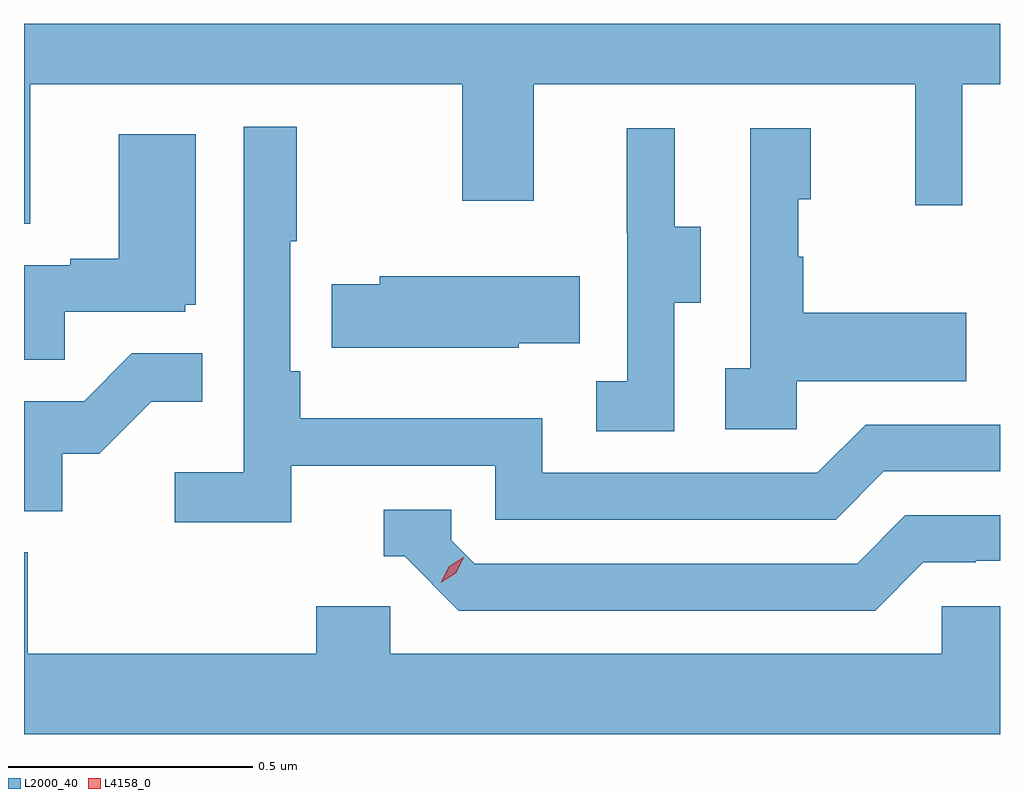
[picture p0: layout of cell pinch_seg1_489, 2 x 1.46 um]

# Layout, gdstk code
import gdstk
lib = gdstk.Library(unit=1e-6, precision=1e-09)
def P(c, l, *ps):  # polygons
    for p in ps: c.add(gdstk.Polygon(p, *l))
L2000_40 = (2000, 40)
L4158_0 = (4158, 0)

pinch_seg1_489 = lib.new_cell('pinch_seg1_489')
P(pinch_seg1_489, L2000_40, [(1089.571,534.416),(1090.456,534.416),(1090.456,534.177),(1090.603,534.177),(1090.603,534.416),(1091.384,534.416),(1091.384,534.168),(1091.481,534.168),(1091.481,534.416),(1091.558,534.416),(1091.558,534.539),(1089.558,534.539),(1089.558,534.13),(1089.571,534.13)],
  [(1090.106,533.634),(1090.524,533.634),(1090.524,533.523),(1091.221,533.523),(1091.32,533.622),(1091.558,533.622),(1091.558,533.718),(1091.283,533.718),(1091.184,533.619),(1090.62,533.619),(1090.62,533.731),(1090.124,533.731),(1090.124,533.827),(1090.104,533.827),(1090.104,534.094),(1090.117,534.094),(1090.117,534.328),(1090.008,534.328),(1090.008,533.62),(1089.867,533.62),(1089.867,533.518),(1090.106,533.518)],
  [(1091.142,533.807),(1091.489,533.807),(1091.489,533.947),(1091.155,533.947),(1091.155,534.062),(1091.145,534.062),(1091.145,534.18),(1091.17,534.18),(1091.17,534.325),(1091.046,534.325),(1091.046,533.834),(1090.995,533.834),(1090.995,533.709),(1091.142,533.709)],
  [(1090.89,533.968),(1090.945,533.968),(1090.945,534.123),(1090.891,534.123),(1090.891,534.325),(1090.793,534.325),(1090.793,534.111),(1090.794,534.111),(1090.794,533.807),(1090.731,533.807),(1090.731,533.704),(1090.89,533.704)],
  [(1089.641,533.949),(1089.888,533.949),(1089.888,533.964),(1089.91,533.964),(1089.91,534.313),(1089.752,534.313),(1089.752,534.058),(1089.653,534.058),(1089.653,534.045),(1089.558,534.045),(1089.558,533.851),(1089.641,533.851)],
  [(1090.572,533.885),(1090.697,533.885),(1090.697,534.022),(1090.287,534.022),(1090.287,534.006),(1090.189,534.006),(1090.189,533.876),(1090.572,533.876)],
  [(1089.636,533.658),(1089.712,533.658),(1089.819,533.765),(1089.923,533.765),(1089.923,533.864),(1089.779,533.864),(1089.681,533.766),(1089.558,533.766),(1089.558,533.541),(1089.636,533.541)],
  [(1091.401,533.436),(1091.508,533.436),(1091.508,533.439),(1091.558,533.439),(1091.558,533.532),(1091.364,533.532),(1091.265,533.433),(1090.482,533.433),(1090.434,533.481),(1090.434,533.544),(1090.295,533.544),(1090.295,533.448),(1090.338,533.448),(1090.449,533.337),(1091.302,533.337)],
  [(1091.558,533.346),(1091.439,533.346),(1091.439,533.248),(1090.308,533.248),(1090.308,533.346),(1090.157,533.346),(1090.157,533.248),(1089.566,533.248),(1089.566,533.456),(1089.558,533.456),(1089.558,533.084),(1091.558,533.084)])
P(pinch_seg1_489, L4158_0, [(1090.412,533.394),(1090.412,533.394),(1090.428,533.427),(1090.459,533.446),(1090.459,533.446),(1090.459,533.445),(1090.443,533.413),(1090.412,533.394)])

lib.write_gds('pinch_seg1_489.gds')
